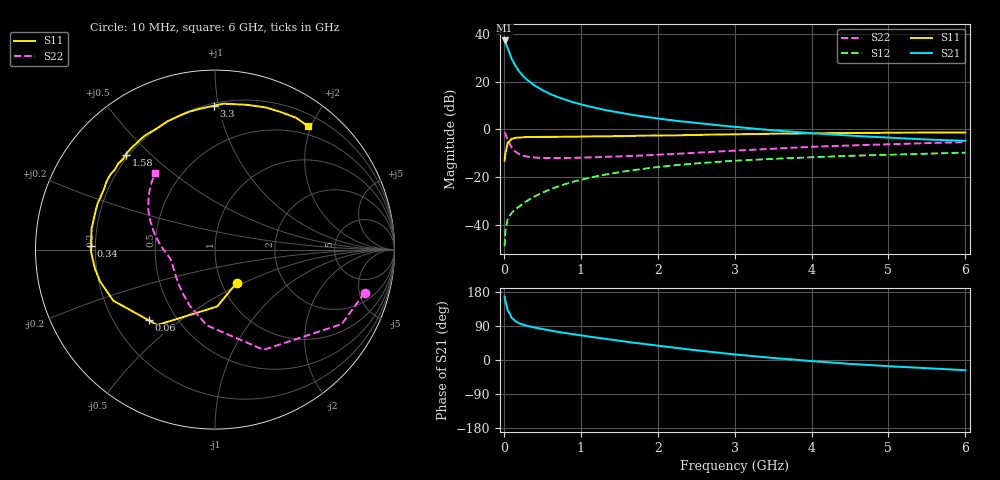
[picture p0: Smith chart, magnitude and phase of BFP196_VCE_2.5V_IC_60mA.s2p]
! Infineon Technologies  Discrete & RF Semiconductors
! BFP196
! VCE = 2.5 V,  IC =  60mA
! Common Emitter S-Parameters:  Jan 2016
# GHz  S  MA  R  50
!  f  S11  S21  S12  S22
! GHz  MAG  ANG  MAG  ANG  MAG  ANG  MAG  ANG
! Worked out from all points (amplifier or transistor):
!   210 points, 10 MHz to 6 GHz, reference 50 ohm
!   highest |S21| = 37.2 dB at 10 MHz (marker M1)
!   |S21| within 3 dB of that: start of sweep to 46.05 MHz
!   unconditionally stable (mu >= 1): 393.6 MHz to 4.469 GHz
!   at 185 MHz: K = 0.78, MSG = 28.8 dB, |S12| = -32.6 dB
!   at 1.52 GHz: K = 1.09, MAG = 10.6 dB, |S12| = -17.8 dB
!   at 6 GHz: K = 0.98, MSG = 2.5 dB, |S12| = -9.7 dB
!   S11 on the Smith chart (normalised r, x): 10 MHz: 1.18, -0.46; 60 MHz: 0.35, -0.39; 340 MHz: 0.18, +0.01; 1.58 GHz: 0.19, +0.42; 3.3 GHz: 0.22, +0.97; 6 GHz: 0.37, +1.95
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0.01  0.2211 -57.0  72.46 167.4  0.0036 77.8  0.8682 -16.0
0.02  0.317 -87.8  67.39 155.0  0.0074 71.1  0.8192 -30.4
0.05  0.5291 -127.4  49.59 130.7  0.0132 55.1  0.6206 -64.1
0.06  0.5402 -133.3  45.45 128.2  0.0141 53.9  0.5702 -68.6
0.1  0.6341 -153.3  30.34 111.5  0.0178 50.4  0.4244 -96.2
0.15  0.6645 -164.6  21.26 102.2  0.0212 51.0  0.3419 -114.5
0.2  0.6769 -170.8  16.25 96.8  0.0245 55.0  0.3025 -126.4
0.24  0.6828 -175.0  13.67 93.8  0.0274 56.6  0.2849 -133.6
0.3  0.6908 -179.2  10.93 90.1  0.0319 59.2  0.2702 -141.5
0.34  0.6907 178.4  9.861 88.6  0.0349 60.6  0.2644 -145.0
0.4  0.6929 174.7  8.276 85.5  0.0394 62.2  0.2576 -150.4
0.5  0.6977 170.3  6.62 81.6  0.0472 63.5  0.2524 -156.1
0.6  0.6963 166.1  5.519 77.7  0.0553 63.9  0.2508 -159.9
0.8  0.7024 158.6  4.158 71.1  0.0718 63.6  0.2525 -165.2
1.02  0.7065 150.5  3.274 64.4  0.0893 61.9  0.256 -169.3
1.58  0.7258 133.2  2.128 48.7  0.1329 54.8  0.2754 -176.7
2.02  0.7458 120.8  1.674 37.4  0.1639 48.1  0.2963 177.3
3.1  0.792 94.4  1.091 12.9  0.2252 32.0  0.3648 161.6
3.3  0.8014 90.4  1.02 9.3  0.2336 29.1  0.3795 158.6
4.1  0.8275 76.3  0.813 -4.3  0.2648 19.1  0.4378 148.1
5.1  0.8514 63.3  0.659 -17.4  0.2983 7.9  0.4937 137.3
6  0.861 53.0  0.576 -26.9  0.3262 -2.1  0.5413 127.9
